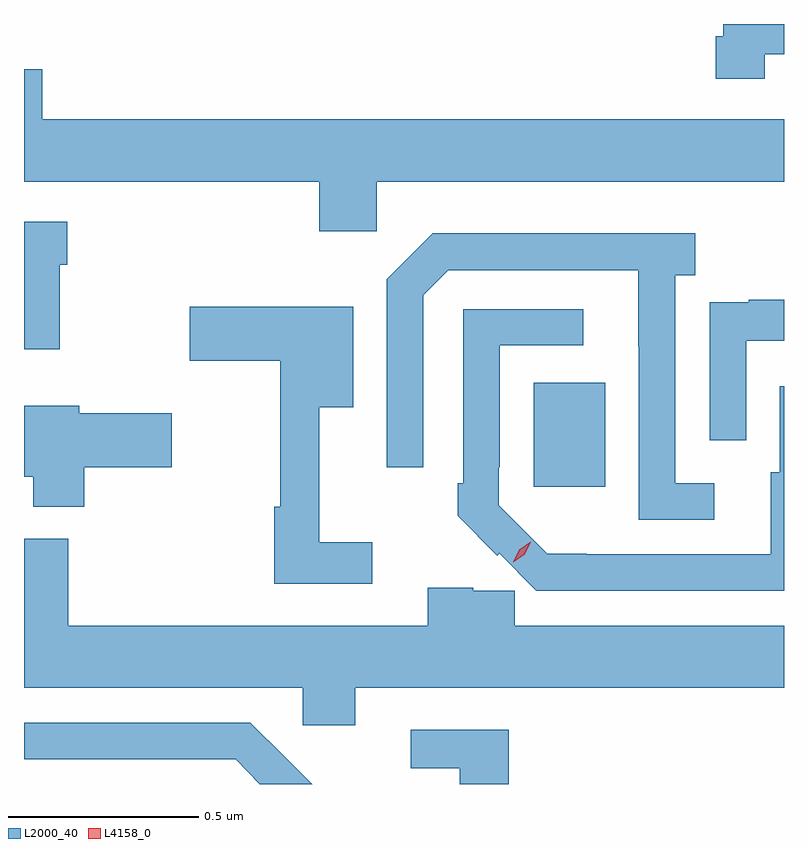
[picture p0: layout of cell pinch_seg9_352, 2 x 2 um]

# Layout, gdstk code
import gdstk
lib = gdstk.Library(unit=1e-6, precision=1e-09)
def R(c, l, rs):  # rectangles x0, y0, x1, y1
    for r in rs: c.add(gdstk.rectangle(r[:2], r[2:], *l))
def P(c, l, *ps):  # polygons
    for p in ps: c.add(gdstk.Polygon(p, *l))
L2000_40 = (2000, 40)
L4158_0 = (4158, 0)

pinch_seg9_352 = lib.new_cell('pinch_seg9_352')
R(pinch_seg9_352, L2000_40, [(638.657,1176.969,638.845,1177.243)])
P(pinch_seg9_352, L2000_40, [(639.265,1178.108),(639.316,1178.108),(639.316,1178.187),(639.156,1178.187),(639.156,1178.155),(639.136,1178.155),(639.136,1178.043),(639.265,1178.043)],
  [(638.244,1177.772),(639.316,1177.772),(639.316,1177.936),(637.364,1177.936),(637.364,1178.068),(637.316,1178.068),(637.316,1177.772),(638.093,1177.772),(638.093,1177.641),(638.244,1177.641)],
  [(637.41,1177.553),(637.43,1177.553),(637.43,1177.666),(637.316,1177.666),(637.316,1177.331),(637.41,1177.331)],
  [(639.133,1176.978),(639.03,1176.978),(639.03,1177.526),(639.082,1177.526),(639.082,1177.636),(638.392,1177.636),(638.271,1177.515),(638.271,1177.02),(638.367,1177.02),(638.367,1177.473),(638.433,1177.539),(638.933,1177.539),(638.933,1177.339),(638.934,1177.339),(638.934,1176.882),(639.133,1176.882)],
  [(639.216,1177.353),(639.316,1177.353),(639.316,1177.462),(639.223,1177.462),(639.223,1177.455),(639.121,1177.455),(639.121,1177.346),(639.12,1177.346),(639.12,1177.092),(639.216,1177.092)],
  [(638.233,1176.823),(638.093,1176.823),(638.093,1177.178),(638.182,1177.178),(638.182,1177.443),(637.752,1177.443),(637.752,1177.301),(637.99,1177.301),(637.99,1176.917),(637.975,1176.917),(637.975,1176.714),(638.233,1176.714)],
  [(639.316,1177.234),(639.305,1177.234),(639.305,1177.008),(639.281,1177.008),(639.281,1176.792),(638.797,1176.792),(638.797,1176.793),(638.693,1176.793),(638.565,1176.921),(638.565,1177.021),(638.568,1177.021),(638.568,1177.341),(638.788,1177.341),(638.788,1177.437),(638.472,1177.437),(638.472,1176.979),(638.457,1176.979),(638.457,1176.893),(638.562,1176.788),(638.567,1176.794),(638.664,1176.696),(639.316,1176.696)],
  [(637.475,1177.021),(637.705,1177.021),(637.705,1177.163),(637.462,1177.163),(637.462,1177.183),(637.316,1177.183),(637.316,1176.995),(637.34,1176.995),(637.34,1176.917),(637.475,1176.917)],
  [(638.188,1176.44),(639.316,1176.44),(639.316,1176.604),(638.607,1176.604),(638.607,1176.696),(638.498,1176.696),(638.498,1176.703),(638.378,1176.703),(638.378,1176.604),(637.433,1176.604),(637.433,1176.832),(637.316,1176.832),(637.316,1176.44),(638.049,1176.44),(638.049,1176.342),(638.188,1176.342)],
  [(638.004,1176.258),(638.003,1176.257),(637.912,1176.348),(637.316,1176.348),(637.316,1176.252),(637.873,1176.252),(637.937,1176.187),(638.075,1176.187)],
  [(638.591,1176.33),(638.334,1176.33),(638.334,1176.229),(638.463,1176.229),(638.463,1176.187),(638.591,1176.187)])
P(pinch_seg9_352, L4158_0, [(638.603,1176.77),(638.603,1176.771),(638.619,1176.804),(638.649,1176.824),(638.65,1176.824),(638.65,1176.824),(638.634,1176.791),(638.603,1176.77)])

lib.write_gds('pinch_seg9_352.gds')
